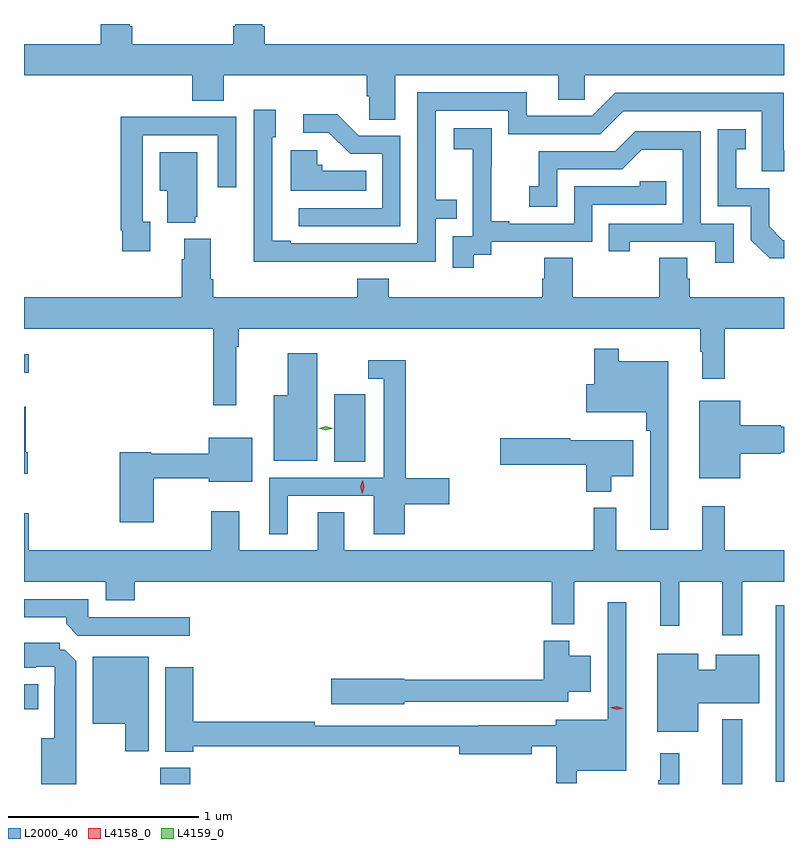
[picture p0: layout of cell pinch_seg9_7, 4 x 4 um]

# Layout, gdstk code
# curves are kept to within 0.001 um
import gdstk
lib = gdstk.Library(unit=1e-6, precision=1e-09)
def R(c, l, rs):  # rectangles x0, y0, x1, y1
    for r in rs: c.add(gdstk.rectangle(r[:2], r[2:], *l))
def P(c, l, *ps):  # polygons
    for p in ps: c.add(gdstk.Polygon(p, *l))
L2000_40 = (2000, 40)
L4158_0 = (4158, 0)
L4159_0 = (4159, 0)

pinch_seg9_7 = lib.new_cell('pinch_seg9_7')
R(pinch_seg9_7, L2000_40, [(1046.662,1233.983,1046.822,1234.069), (1049.621,1233.983,1049.725,1234.324), (1049.903,1233.995,1049.946,1234.924), (1045.946,1234.376,1046.02,1234.507), (1047.578,1235.68,1047.742,1236.034), (1045.946,1236.147,1045.972,1236.244)])
P(pinch_seg9_7, L2000_40, [(1047.199,1237.972),(1047.199,1237.983),(1047.059,1237.983),(1047.059,1237.972),(1047.047,1237.972),(1047.047,1237.876),(1046.516,1237.876),(1046.516,1237.972),(1046.503,1237.972),(1046.503,1237.983),(1046.351,1237.983),(1046.351,1237.876),(1045.946,1237.876),(1045.946,1237.712),(1046.831,1237.712),(1046.831,1237.579),(1046.996,1237.579),(1046.996,1237.712),(1047.749,1237.712),(1047.749,1237.603),(1047.762,1237.603),(1047.762,1237.48),(1047.901,1237.48),(1047.901,1237.712),(1048.757,1237.712),(1048.757,1237.585),(1048.896,1237.585),(1048.896,1237.712),(1049.946,1237.712),(1049.946,1237.876),(1047.212,1237.876),(1047.212,1237.972)],
  [(1047.617,1236.732),(1048.113,1236.732),(1048.113,1236.957),(1048.223,1236.957),(1048.223,1237.058),(1048.113,1237.058),(1048.113,1237.527),(1048.494,1237.527),(1048.494,1237.404),(1048.98,1237.404),(1049.1,1237.524),(1049.829,1237.524),(1049.829,1237.209),(1049.946,1237.209),(1049.945,1237.62),(1049.058,1237.62),(1048.938,1237.5),(1048.591,1237.5),(1048.591,1237.623),(1048.017,1237.623),(1048.017,1236.828),(1047.349,1236.828),(1047.349,1236.841),(1047.252,1236.841),(1047.252,1237.386),(1047.271,1237.386),(1047.271,1237.531),(1047.156,1237.531),(1047.156,1237.037),(1047.154,1237.037),(1047.154,1236.731)],
  [(1047.927,1237.395),(1047.708,1237.395),(1047.595,1237.508),(1047.417,1237.508),(1047.417,1237.41),(1047.551,1237.41),(1047.662,1237.299),(1047.831,1237.299),(1047.831,1237.014),(1047.393,1237.014),(1047.393,1236.918),(1047.927,1236.918)],
  [(1046.611,1236.942),(1046.571,1236.942),(1046.571,1237.398),(1046.967,1237.398),(1046.967,1237.125),(1047.063,1237.125),(1047.063,1237.494),(1046.747,1237.494),(1046.747,1237.496),(1046.455,1237.496),(1046.455,1236.898),(1046.463,1236.898),(1046.463,1236.786),(1046.611,1236.786)],
  [(1048.312,1236.769),(1048.404,1236.769),(1048.404,1236.837),(1048.938,1236.837),(1048.938,1237.032),(1049.327,1237.032),(1049.327,1237.155),(1049.187,1237.155),(1049.187,1237.128),(1048.842,1237.128),(1048.842,1236.933),(1048.501,1236.933),(1048.501,1236.946),(1048.406,1236.946),(1048.406,1237.229),(1048.407,1237.229),(1048.407,1237.435),(1048.209,1237.435),(1048.209,1237.325),(1048.307,1237.325),(1048.307,1237.097),(1048.308,1237.097),(1048.308,1236.867),(1048.203,1236.867),(1048.203,1236.699),(1048.312,1236.699)],
  [(1049.946,1236.846),(1049.94,1236.846),(1049.868,1236.918),(1049.868,1237.119),(1049.695,1237.119),(1049.695,1237.323),(1049.744,1237.323),(1049.744,1237.429),(1049.598,1237.429),(1049.598,1237.023),(1049.772,1237.023),(1049.772,1236.846),(1049.87,1236.749),(1049.946,1236.749)],
  [(1049.682,1236.933),(1049.508,1236.933),(1049.508,1237.419),(1049.162,1237.419),(1049.057,1237.314),(1048.654,1237.314),(1048.654,1237.129),(1048.605,1237.129),(1048.605,1237.02),(1048.752,1237.02),(1048.752,1237.218),(1049.094,1237.218),(1049.198,1237.322),(1049.412,1237.322),(1049.412,1236.933),(1049.023,1236.933),(1049.023,1236.786),(1049.134,1236.786),(1049.134,1236.837),(1049.585,1236.837),(1049.585,1236.726),(1049.682,1236.726)],
  [(1047.746,1237.21),(1047.516,1237.21),(1047.516,1237.242),(1047.489,1237.242),(1047.489,1237.318),(1047.35,1237.318),(1047.35,1237.106),(1047.746,1237.106)],
  [(1046.846,1236.969),(1046.857,1236.969),(1046.857,1237.309),(1046.66,1237.309),(1046.66,1237.106),(1046.699,1237.106),(1046.699,1236.938),(1046.846,1236.938)],
  [(1047.062,1236.284),(1047.077,1236.284),(1047.077,1236.38),(1049.505,1236.38),(1049.505,1236.257),(1049.516,1236.257),(1049.516,1236.117),(1049.633,1236.117),(1049.633,1236.38),(1049.946,1236.38),(1049.946,1236.544),(1049.45,1236.544),(1049.45,1236.642),(1049.437,1236.642),(1049.437,1236.752),(1049.29,1236.752),(1049.29,1236.544),(1048.833,1236.544),(1048.833,1236.752),(1048.685,1236.752),(1048.685,1236.642),(1048.673,1236.642),(1048.673,1236.544),(1047.866,1236.544),(1047.866,1236.643),(1047.701,1236.643),(1047.701,1236.544),(1046.942,1236.544),(1046.942,1236.64),(1046.929,1236.64),(1046.929,1236.853),(1046.789,1236.853),(1046.789,1236.746),(1046.777,1236.746),(1046.777,1236.544),(1045.946,1236.544),(1045.946,1236.38),(1046.941,1236.38),(1046.941,1235.976),(1047.062,1235.976)],
  [(1049.338,1236.208),(1049.077,1236.208),(1049.077,1236.274),(1048.948,1236.274),(1048.948,1236.087),(1048.904,1236.087),(1048.904,1235.939),(1049.221,1235.939),(1049.221,1235.843),(1049.241,1235.843),(1049.241,1235.322),(1049.338,1235.322)],
  [(1047.49,1236.25),(1047.335,1236.25),(1047.335,1236.028),(1047.26,1236.028),(1047.26,1235.684),(1047.49,1235.684)],
  [(1047.334,1235.499),(1047.788,1235.499),(1047.788,1235.298),(1047.95,1235.298),(1047.95,1235.456),(1048.183,1235.456),(1048.183,1235.591),(1047.956,1235.591),(1047.956,1236.214),(1047.759,1236.214),(1047.759,1236.117),(1047.84,1236.117),(1047.84,1235.595),(1047.236,1235.595),(1047.236,1235.298),(1047.334,1235.298)],
  [(1049.716,1235.72),(1049.928,1235.72),(1049.928,1235.728),(1049.946,1235.728),(1049.946,1235.864),(1049.928,1235.864),(1049.928,1235.872),(1049.716,1235.872),(1049.716,1236.001),(1049.501,1236.001),(1049.501,1235.591),(1049.716,1235.591)],
  [(1045.967,1235.728),(1045.954,1235.728),(1045.954,1235.968),(1045.946,1235.968),(1045.946,1235.616),(1045.967,1235.616)],
  [(1046.628,1235.592),(1046.918,1235.592),(1046.918,1235.573),(1047.148,1235.573),(1047.148,1235.806),(1046.918,1235.806),(1046.918,1235.72),(1046.616,1235.72),(1046.616,1235.728),(1046.45,1235.728),(1046.45,1235.361),(1046.628,1235.361)],
  [(1049.038,1235.603),(1049.152,1235.603),(1049.152,1235.791),(1048.82,1235.791),(1048.82,1235.804),(1048.452,1235.804),(1048.452,1235.662),(1048.904,1235.662),(1048.904,1235.522),(1049.038,1235.522)],
  [(1049.725,1235.048),(1049.946,1235.048),(1049.946,1235.212),(1049.633,1235.212),(1049.633,1235.446),(1049.516,1235.446),(1049.516,1235.212),(1049.063,1235.212),(1049.063,1235.437),(1048.945,1235.437),(1048.945,1235.212),(1047.631,1235.212),(1047.631,1235.414),(1047.491,1235.414),(1047.491,1235.212),(1047.079,1235.212),(1047.079,1235.419),(1046.932,1235.419),(1046.932,1235.212),(1045.971,1235.212),(1045.971,1235.407),(1045.946,1235.407),(1045.946,1235.048),(1046.375,1235.048),(1046.375,1234.949),(1046.528,1234.949),(1046.528,1235.048),(1048.723,1235.048),(1048.723,1234.823),(1048.841,1234.823),(1048.841,1235.048),(1049.294,1235.048),(1049.294,1234.815),(1049.394,1234.815),(1049.394,1235.048),(1049.621,1235.048),(1049.621,1234.767),(1049.725,1234.767)],
  [(1046.818,1234.86),(1046.283,1234.86),(1046.283,1234.956),(1045.946,1234.956),(1045.946,1234.86),(1046.168,1234.86),(1046.168,1234.826),(1046.229,1234.764),(1046.818,1234.764)],
  [(1048.855,1234.052),(1049.116,1234.052),(1049.116,1234.939),(1049.019,1234.939),(1049.019,1234.321),(1048.745,1234.321),(1048.745,1234.291),(1048.342,1234.291),(1048.342,1234.29),(1047.476,1234.29),(1047.476,1234.31),(1046.837,1234.31),(1046.837,1234.597),(1046.69,1234.597),(1046.69,1234.154),(1046.837,1234.154),(1046.837,1234.182),(1048.238,1234.182),(1048.238,1234.139),(1048.618,1234.139),(1048.618,1234.182),(1048.746,1234.182),(1048.746,1233.987),(1048.855,1233.987)],
  [(1047.948,1234.416),(1048.81,1234.416),(1048.81,1234.469),(1048.93,1234.469),(1048.93,1234.657),(1048.816,1234.657),(1048.816,1234.738),(1048.682,1234.738),(1048.682,1234.532),(1047.948,1234.532),(1047.948,1234.538),(1047.564,1234.538),(1047.564,1234.403),(1047.948,1234.403)],
  [(1046.221,1234.629),(1046.161,1234.689),(1046.133,1234.689),(1046.133,1234.726),(1045.946,1234.726),(1045.946,1234.595),(1046.009,1234.595),(1046.009,1234.599),(1046.109,1234.599),(1046.109,1234.499),(1046.105,1234.499),(1046.105,1234.225),(1046.036,1234.225),(1046.036,1233.983),(1046.221,1233.983)],
  [(1049.494,1234.409),(1049.815,1234.409),(1049.815,1234.663),(1049.588,1234.663),(1049.588,1234.585),(1049.494,1234.585),(1049.494,1234.669),(1049.279,1234.669),(1049.279,1234.259),(1049.494,1234.259)],
  [(1046.602,1234.654),(1046.309,1234.654),(1046.309,1234.301),(1046.48,1234.301),(1046.48,1234.155),(1046.602,1234.155)],
  [(1049.394,1234.144),(1049.294,1234.144),(1049.294,1234.004),(1049.283,1234.004),(1049.283,1233.983),(1049.394,1233.983)])
P(pinch_seg9_7, L4158_0, [(1049.065,1234.373),(1049.03,1234.385),(1049.029,1234.385),(1049.03,1234.385),(1049.066,1234.393),(1049.1,1234.382),(1049.101,1234.382),(1049.1,1234.382)],
  [(1047.725,1235.51),(1047.717,1235.547),(1047.728,1235.582),(1047.729,1235.582),(1047.729,1235.582),(1047.737,1235.546),(1047.726,1235.51),(1047.726,1235.51)])
P(pinch_seg9_7, L4159_0, [(1047.535,1235.845),(1047.497,1235.855),(1047.496,1235.855),(1047.497,1235.855),(1047.535,1235.865),(1047.573,1235.855),(1047.573,1235.855),(1047.573,1235.855)])

lib.write_gds('pinch_seg9_7.gds')
